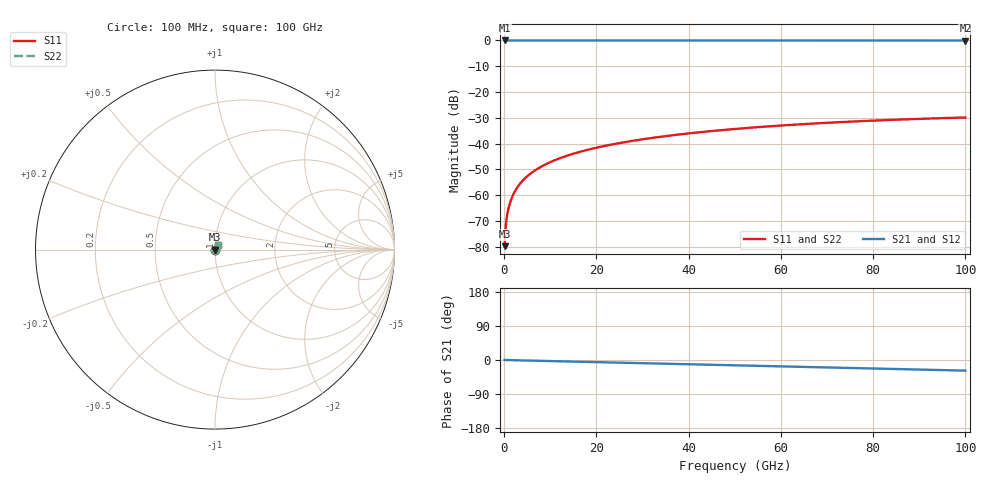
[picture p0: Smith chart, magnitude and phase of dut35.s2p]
! Touchstone file exported from HFSS 2026.1.0
!  File:  C:/ffzhzh/LocalFiles/Ansys_Project_Files/temp_train_TSV_35_1783504670_31944.aedt
!  Generated:  05:59:04 PM Jul  8, 2026
!  Design:  TSV
!  Project:  temp_train_TSV_35_1783504670_31944
! Variables:
!  h_bsmrdl = 2um
!  h_ox = 20um
!  h_rdl = 5um
!  h_sub = 50.67um
!  h_tmrdl = 5um
!  h_tsv = 50.67um
!  h_via = 3um
!  l_bsmrdl = 300um
!  l_sub = 422.92um
!  l_tmrdl = 200um
!  m_sub = 200um
!  pitch = 49.63um
!  r_tsv = 11.46um
!  s_tmrdl = 10um
!  w_bsmrdl = 18um
!  w_sub = 500um
!  w_tmrdl = 12um
!  x_tsv_center1 = 206um
!  x_tsv_center2 = 524um
!  x_tsv_center3 = 736um
!  x_tsv_center4 = 1054um
!  x_tsv_center5 = 1266um
!  x_tsv_center6 = 1584um
# GHz S MA R 50.000000
! Terminal data exported
! Port[1] = TSV1_1_T1
! Port[2] = TSV1_1_T2
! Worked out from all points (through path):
!   1000 points, 100 MHz to 100 GHz, reference 50 ohm
!   highest |S21| = 0.00 dB at 100 MHz (marker M1); lowest = 0.0 dB at 100 GHz (marker M2)
!   group delay of S21, straight-line fit = 777 fs
!   lowest |S11| = -79.8 dB at 100 MHz (marker M3), VSWR 1.00, Z = 50 + j0.00696 ohm
!   |S11| at or under -10 dB: start of sweep to end of sweep
!   |S22| runs from -79.8 to -29.9 dB; largest |S21 - S12| = 1.9e-15
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0.1  0.0001026 42.7  0.9999 -0.0  0.9999 -0.0  0.0001026 42.7
! Gamma 0 0 0 0
! Port Impedance 50 0 50 0
0.4  0.0002796 66.4  0.9999 -0.1  0.9999 -0.1  0.0002796 66.4
0.7  0.0004374 69.7  0.9998 -0.2  0.9998 -0.2  0.0004374 69.7
0.8  0.0004862 70.4  0.9998 -0.2  0.9998 -0.2  0.0004862 70.4
1.1  0.0006278 72.3  0.9998 -0.3  0.9998 -0.3  0.0006278 72.3
1.4  0.0007662 73.7  0.9998 -0.4  0.9998 -0.4  0.0007662 73.7
1.9  0.0009932 75.3  0.9998 -0.5  0.9998 -0.5  0.0009932 75.3
2.4  0.001216 76.3  0.9997 -0.7  0.9997 -0.7  0.001216 76.3
3.1  0.001521 77.2  0.9997 -0.9  0.9997 -0.9  0.001521 77.2
3.9  0.001862 78.0  0.9996 -1.1  0.9996 -1.1  0.001862 78.0
4.9  0.002281 78.6  0.9996 -1.4  0.9996 -1.4  0.002281 78.6
6.1  0.002778 79.2  0.9996 -1.7  0.9996 -1.7  0.002778 79.2
8.9  0.003924 79.7  0.9995 -2.5  0.9995 -2.5  0.003924 79.7
12.5  0.005376 79.6  0.9993 -3.5  0.9993 -3.5  0.005376 79.6
16.8  0.007073 79.2  0.9992 -4.7  0.9992 -4.7  0.007073 79.2
24.2  0.009929 78.1  0.9991 -6.8  0.9991 -6.8  0.009929 78.1
33.4  0.01338 76.2  0.9989 -9.3  0.9989 -9.3  0.01338 76.2
41.2  0.01619 74.4  0.9987 -11.5  0.9987 -11.5  0.01619 74.4
50.1  0.01925 72.2  0.9985 -14.0  0.9985 -14.0  0.01925 72.2
66.7  0.02439 67.9  0.9982 -18.7  0.9982 -18.7  0.02439 67.9
83.4  0.02872 63.5  0.9979 -23.3  0.9979 -23.3  0.02872 63.5
100  0.0321 59.2  0.9975 -28.0  0.9975 -28.0  0.0321 59.2
